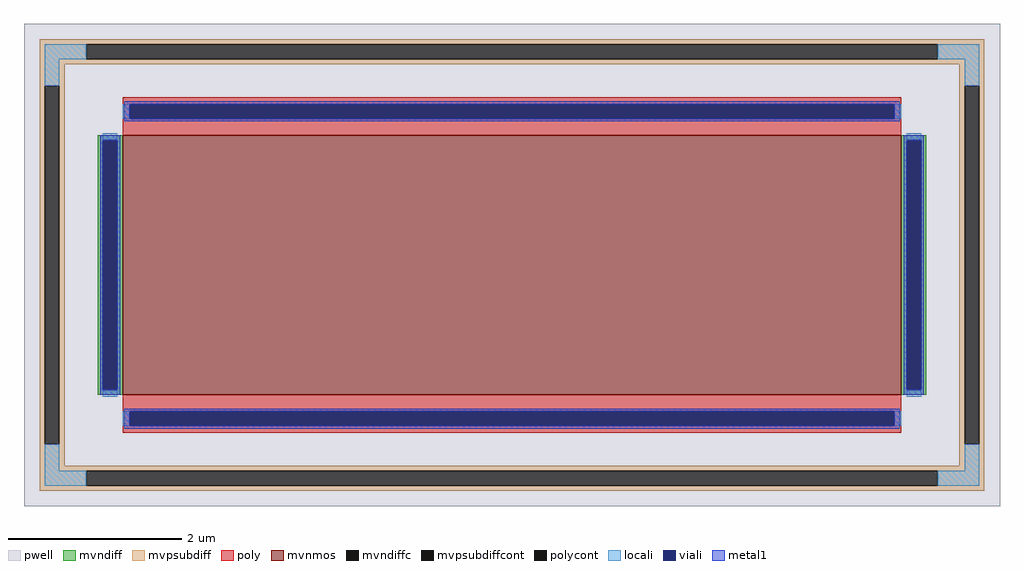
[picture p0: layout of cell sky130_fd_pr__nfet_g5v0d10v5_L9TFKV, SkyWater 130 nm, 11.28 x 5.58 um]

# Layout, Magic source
magic
tech sky130A
<< pwell >>
rect -564 -279 564 279
<< mvnmos >>
rect -450 -150 450 150
<< mvndiff >>
rect -479 144 -450 150
rect -479 -144 -473 144
rect -456 -144 -450 144
rect -479 -150 -450 -144
rect 450 144 479 150
rect 450 -144 456 144
rect 473 -144 479 144
rect 450 -150 479 -144
<< mvndiffc >>
rect -473 -144 -456 144
rect 456 -144 473 144
<< mvpsubdiff >>
rect -546 255 546 261
rect -546 238 -492 255
rect 492 238 546 255
rect -546 232 546 238
rect -546 207 -517 232
rect -546 -207 -540 207
rect -523 -207 -517 207
rect 517 207 546 232
rect -546 -232 -517 -207
rect 517 -207 523 207
rect 540 -207 546 207
rect 517 -232 546 -207
rect -546 -238 546 -232
rect -546 -255 -492 -238
rect 492 -255 546 -238
rect -546 -261 546 -255
<< mvpsubdiffcont >>
rect -492 238 492 255
rect -540 -207 -523 207
rect 523 -207 540 207
rect -492 -255 492 -238
<< poly >>
rect -450 186 450 194
rect -450 169 -442 186
rect 442 169 450 186
rect -450 150 450 169
rect -450 -169 450 -150
rect -450 -186 -442 -169
rect 442 -186 450 -169
rect -450 -194 450 -186
<< polycont >>
rect -442 169 442 186
rect -442 -186 442 -169
<< locali >>
rect -540 238 -492 255
rect 492 238 540 255
rect -540 207 -523 238
rect 523 207 540 238
rect -450 169 -442 186
rect 442 169 450 186
rect -473 144 -456 152
rect -473 -152 -456 -144
rect 456 144 473 152
rect 456 -152 473 -144
rect -450 -186 -442 -169
rect 442 -186 450 -169
rect -540 -238 -523 -207
rect 523 -238 540 -207
rect -540 -255 -492 -238
rect 492 -255 540 -238
<< viali >>
rect -442 169 442 186
rect -473 -144 -456 144
rect 456 -144 473 144
rect -442 -186 442 -169
<< metal1 >>
rect -448 186 448 189
rect -448 169 -442 186
rect 442 169 448 186
rect -448 166 448 169
rect -476 144 -453 150
rect -476 -144 -473 144
rect -456 -144 -453 144
rect -476 -150 -453 -144
rect 453 144 476 150
rect 453 -144 456 144
rect 473 -144 476 144
rect 453 -150 476 -144
rect -448 -169 448 -166
rect -448 -186 -442 -169
rect 442 -186 448 -169
rect -448 -189 448 -186
<< properties >>
string FIXED_BBOX -531 -246 531 246
string gencell sky130_fd_pr__nfet_g5v0d10v5
string library sky130
string parameters w 3.0 l 9.0 m 1 nf 1 diffcov 100 polycov 100 guard 1 glc 1 grc 1 gtc 1 gbc 1 tbcov 100 rlcov 100 topc 1 botc 1 poverlap 0 doverlap 1 lmin 0.50 wmin 0.42 compatible {sky130_fd_pr__nfet_01v8 sky130_fd_pr__nfet_01v8_lvt  sky130_fd_bs_flash__special_sonosfet_star  sky130_fd_pr__nfet_g5v0d10v5 sky130_fd_pr__nfet_05v0_nvt  sky130_fd_pr__nfet_03v3_nvt} full_metal 1 viasrc 100 viadrn 100 viagate 100 viagb 0 viagr 0 viagl 0 viagt 0
<< end >>
